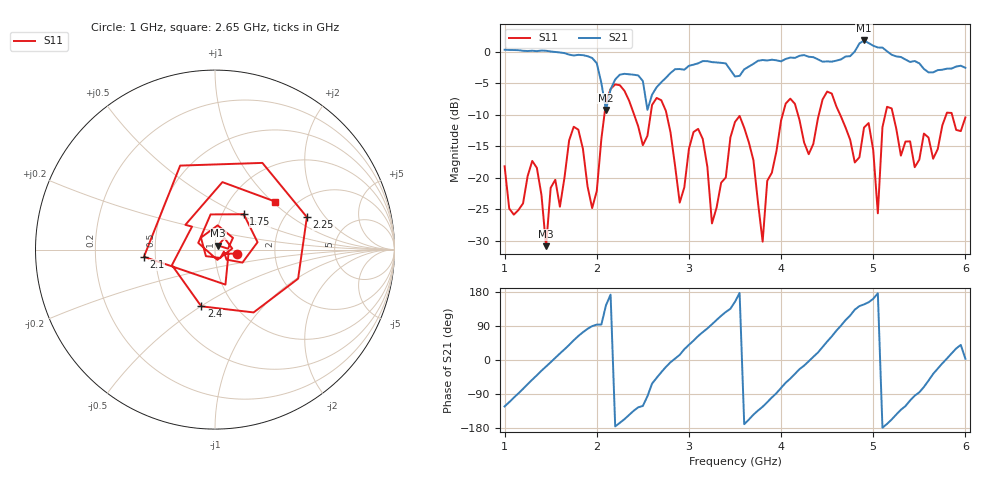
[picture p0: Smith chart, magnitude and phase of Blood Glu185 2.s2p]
! NanoVNA-App
! Date: 2024-03-21 00:51:10
! Start: 1GHz Stop: 6GHz Points: 101
! S-Parameter data: F S11 S21 S12 S22
# Hz S RI R 50
!	Frequency	S11_Real	S11_Imag	S21_Real	S21_Imag	S12_Real	S12_Imag	S22_Real	S22_Imag
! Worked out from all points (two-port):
!   101 points, 1 GHz to 6 GHz, reference 50 ohm
!   highest |S21| = 1.80 dB at 4.9 GHz (marker M1); lowest = -9.2 dB at 2.1 GHz (marker M2)
!   |S21| within 3 dB of the highest: start of sweep to 1.963 GHz; 4.651 GHz to 5.346 GHz (694.5 MHz wide, 13.9 % of centre)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
!   lowest |S11| = -30.9 dB at 1.45 GHz (marker M3), VSWR 1.06, Z = 51.7 + j2.35 ohm
!   |S11| at or under -10 dB: start of sweep to 2.083 GHz; 2.759 GHz to 4.017 GHz (1.258 GHz wide, 37.1 % of centre); 5.216 GHz to 5.792 GHz (576.2 MHz wide, 10.5 % of centre)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
!   S12 and S22 are empty: the file has one direction only
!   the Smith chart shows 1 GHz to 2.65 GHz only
!   S11 on the Smith chart (normalised r, x): 1 GHz: 1.27, -0.06; 1.75 GHz: 1.26, +0.53; 2.1 GHz: 0.43, -0.04; 2.25 GHz: 2.60, +1.34; 2.4 GHz: 0.71, -0.50; 2.65 GHz: 1.60, +1.05
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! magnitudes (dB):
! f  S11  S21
! 1 GHz  -18.2  0.3
! 1.35 GHz  -18.4  0.1
! 1.45 GHz  -30.9  0.2
! 1.75 GHz  -11.9  -0.6
! 1.85 GHz  -15.4  -0.5
! 1.95 GHz  -24.8  -1.0
! 2.1 GHz  -8.0  -9.2
! 2.25 GHz  -5.3  -3.6
! 2.4 GHz  -9.8  -3.6
! 2.65 GHz  -7.3  -5.6
! 2.7 GHz  -7.7  -4.8
! 2.9 GHz  -24.0  -2.7
! 3.15 GHz  -13.9  -1.5
! 3.25 GHz  -27.3  -1.6
! 3.5 GHz  -11.1  -3.9
! 3.8 GHz  -30.2  -1.3
! 4.05 GHz  -8.2  -1.1
! 4.35 GHz  -14.6  -0.9
! 4.9 GHz  -12.0  1.8
! 5.05 GHz  -25.7  0.7
! 5.2 GHz  -9.0  -0.5
! 6 GHz  -10.4  -2.5
